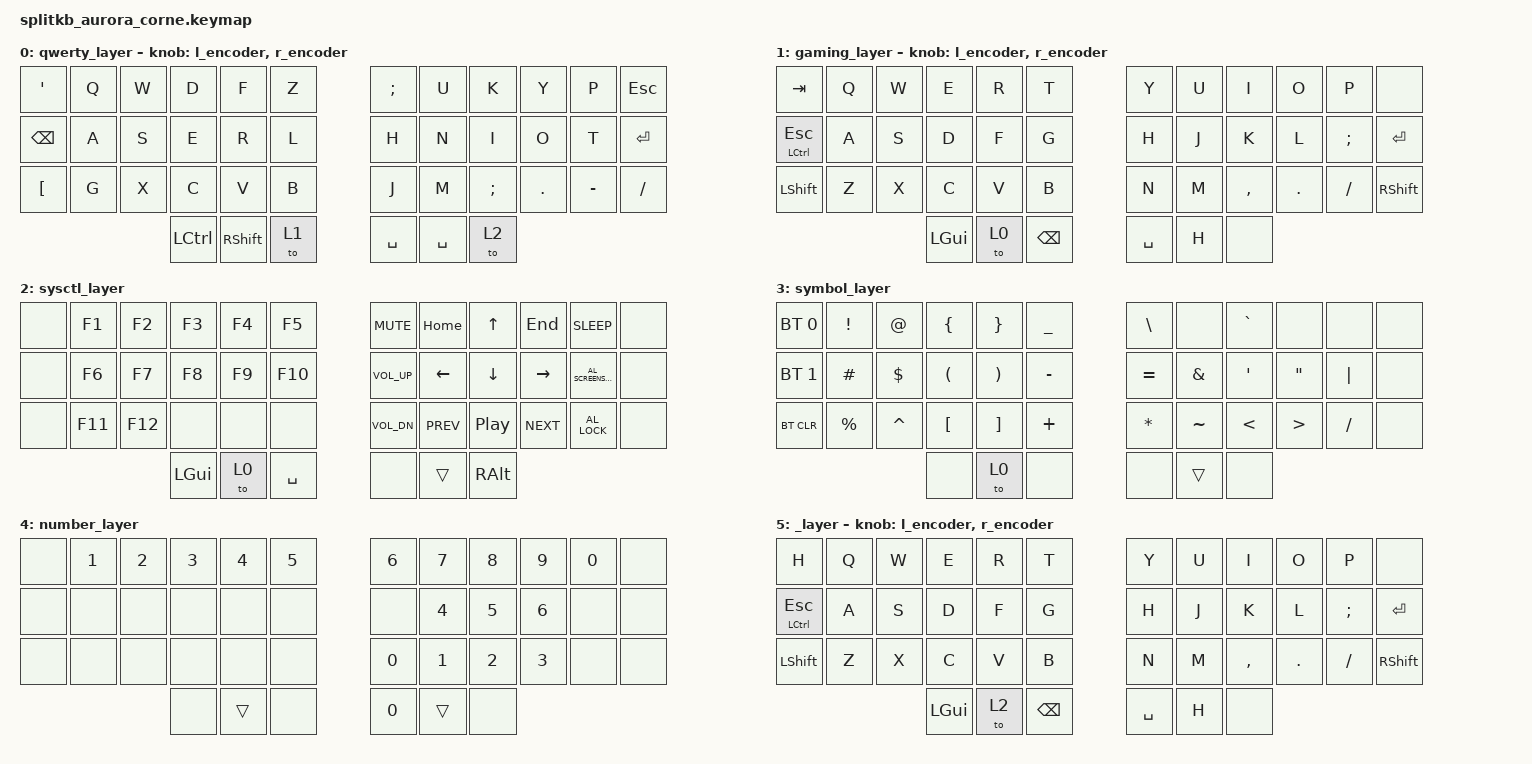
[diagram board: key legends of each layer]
#include <behaviors.dtsi>
#include <dt-bindings/zmk/keys.h>
#include <dt-bindings/zmk/bt.h>



/ {
         behaviors {
                 r_encoder: rigt_en {
                    compatible = "zmk,behavior-sensor-rotate";
                    label = "RIGHT_EN";
                    #sensor-binding-cells = <0>;
                    bindings = <&kp UP>, <&kp DOWN>;
                };
                 l_encoder: left_en {
                    compatible = "zmk,behavior-sensor-rotate";
                    label = "LEFT_EN";
                    #sensor-binding-cells = <0>;
                    bindings = <&kp RIGHT>, <&kp LEFT>;
                };
            };
        keymap {
                compatible = "zmk,keymap";

                qwerty_layer {
//  ┌─────────┬───┬───┬───┬───┬───┐      ┌───┬───┬───┬───┬───┬───────┐
//  │   TAB   │ Q │ W │ E │ R │ T │      │ Y │ U │ I │ O │ P │       │
//  ├─────────┼───┼───┼───┼───┼───┤      ├───┼───┼───┼───┼───┼───────┤
//  │ ESC/CTL │ A │ S │ D │ F │ G │      │ H │ J │ K │ L │ : │ ENTER │
//  ├─────────┼───┼───┼───┼───┼───┤      ├───┼───┼───┼───┼───┼───────┤
//  │  SHIFT  │ Z │ X │ C │ V │ B │      │ N │ M │ , │ . │ / │ SHIFT │
//  └─────────┴┬──┴──┬┴───┴─┬─┴───┴┐   ┌─┴───┼───┴──┬┴─┬─┴───┴───────┘
//             │ CMD │ SMBL │ BSPC │   │ SPC │ SYSC │  │
//             └─────┴──────┴──────┘   └─────┴──────┴──┘
                        bindings = <
   &kp SQT        &kp Q    &kp W    &kp D   &kp F      &kp Z       &kp SEMI    &kp U      &kp K      &kp Y    &kp P     &kp ESC
   &kp BSPC       &kp A    &kp S    &kp E   &kp R      &kp L       &kp H    &kp N      &kp I      &kp O    &kp T  &kp ENTER
   &kp LBKT       &kp G    &kp X    &kp C   &kp V      &kp B       &kp J    &kp M      &kp SEMI   &kp DOT  &kp MINUS  &kp SLASH
                             &kp LCTRL  &kp RSHFT &to 1   &kp SPC  &kp SPC &to 2
                        >;
                           sensor-bindings = <&l_encoder &r_encoder >;
                };
                                   gaming_layer {
//  ┌─────────┬───┬───┬───┬───┬───┐      ┌───┬───┬───┬───┬───┬───────┐
//  │   TAB   │ Q │ W │ E │ R │ T │      │ Y │ U │ I │ O │ P │       │
//  ├─────────┼───┼───┼───┼───┼───┤      ├───┼───┼───┼───┼───┼───────┤
//  │ ESC/CTL │ A │ S │ D │ F │ G │      │ H │ J │ K │ L │ : │ ENTER │
//  ├─────────┼───┼───┼───┼───┼───┤      ├───┼───┼───┼───┼───┼───────┤
//  │  SHIFT  │ Z │ X │ C │ V │ B │      │ N │ M │ , │ . │ / │ SHIFT │
//  └─────────┴┬──┴──┬┴───┴─┬─┴───┴┐   ┌─┴───┼───┴──┬┴─┬─┴───┴───────┘
//             │ CMD │ SMBL │ BSPC │   │ SPC │ SYSC │  │
//             └─────┴──────┴──────┘   └─────┴──────┴──┘
                        bindings = <
   &kp TAB  &kp Q &kp W &kp E   &kp R      &kp T       &kp Y    &kp U      &kp I      &kp O    &kp P     &none
   &mt LCTRL ESC   &kp A &kp S &kp D   &kp F      &kp G       &kp H    &kp J      &kp K      &kp L    &kp SEMI  &kp ENTER
   &kp LSHFT       &kp Z &kp X &kp C   &kp V      &kp B       &kp N    &kp M      &kp COMMA  &kp DOT  &kp FSLH  &kp RSHFT
                             &kp LGUI  &to 0 &kp BSPC    &kp SPC  &kp H &none
                        >;
                           sensor-bindings = <&l_encoder &r_encoder >;
                };
                sysctl_layer {
// |  TAB |  1  |  2  |  3  |  4  |  5  |   |  6  |  7  |  8  |  9  |  0  | BKSP |
// | BTCLR| BT1 | BT2 | BT3 | BT4 | BT5 |   | LFT | DWN |  UP | RGT |     |      |
// | SHFT |     |     |     |     |     |   |     |     |     |     |     |      |
//                    | GUI |     | SPC |   | ENT |     | ALT |
                        bindings = <
   &none  &kp F1   &kp F2   &kp F3    &kp F4  &kp F5       &kp C_MUTE    &kp HOME    &kp UP            &kp END     &kp C_SLEEP           &none
   &none  &kp F6   &kp F7   &kp F8    &kp F9  &kp F10      &kp C_VOL_UP  &kp LEFT    &kp DOWN          &kp RIGHT   &kp C_AL_SCREENSAVER  &none
   &none  &kp F11  &kp F12  &none     &none   &none        &kp C_VOL_DN  &kp C_PREV  &kp C_PLAY_PAUSE  &kp C_NEXT  &kp C_AL_LOCK         &none
                            &kp LGUI  &to 0  &kp SPACE    &none         &trans      &kp RALT
                        >;
                         };

                symbol_layer {
// |  TAB |  1  |  2  |  3  |  4  |  5  |   |  6  |  7  |  8  |  9  |  0  | BKSP |
// | BTCLR| BT1 | BT2 | BT3 | BT4 | BT5 |   | LFT | DWN |  UP | RGT |     |      |
// | SHFT |     |     |     |     |     |   |     |     |     |     |     |      |
//                    | GUI |     | SPC |   | ENT |     | ALT |
                                // !@{}_ \ `
                                // #$()- =&'"|
                                // %^[]+ *~<>/
                        bindings = <
   &bt BT_SEL 0  &kp EXCL   &kp AT     &kp LBRC  &kp RBRC  &kp UNDER    &kp BSLH   &none      &kp GRAVE  &none    &none     &none
   &bt BT_SEL 1  &kp HASH   &kp DLLR   &kp LPAR  &kp RPAR  &kp MINUS    &kp EQUAL  &kp AMPS   &kp SQT    &kp DQT  &kp PIPE  &none
   &bt BT_CLR    &kp PRCNT  &kp CARET  &kp LBKT  &kp RBKT  &kp PLUS     &kp ASTRK  &kp TILDE  &kp LT     &kp GT   &kp FSLH  &none
                          	       &none     &to 0    &none        &none      &trans     &none
                        >;
                };

                number_layer {
// |  TAB |  !  |  @  |  #  |  $  |  %  |   |  ^  |  &  |  *  |  (  |  )  | BKSP |
// | CTRL |     |     |     |     |     |   |  -  |  =  |  [  |  ]  |  \  |  `   |
// | SHFT |     |     |     |     |     |   |  _  |  +  |  {  |  }  | "|" |  ~   |
//                    | GUI |     | SPC |   | ENT |     | ALT |
                        bindings = <
   &none  &kp N1  &kp N2  &kp N3  &kp N4  &kp N5    &kp N6  &kp N7  &kp N8  &kp N9  &kp N0  &none
   &none  &none   &none   &none   &none   &none     &none   &kp N4  &kp N5  &kp N6  &none   &none
   &none  &none   &none   &none   &none   &none     &kp N0  &kp N1  &kp N2  &kp N3  &none   &none
                    	  &none   &trans  &none     &kp N0  &trans  &none
                        >;
                };

                 _layer {
//  ┌─────────┬───┬───┬───┬───┬───┐      ┌───┬───┬───┬───┬───┬───────┐
//  │   TAB   │ Q │ W │ E │ R │ T │      │ Y │ U │ I │ O │ P │       │
//  ├─────────┼───┼───┼───┼───┼───┤      ├───┼───┼───┼───┼───┼───────┤
//  │ ESC/CTL │ A │ S │ D │ F │ G │      │ H │ J │ K │ L │ : │ ENTER │
//  ├─────────┼───┼───┼───┼───┼───┤      ├───┼───┼───┼───┼───┼───────┤
//  │  SHIFT  │ Z │ X │ C │ V │ B │      │ N │ M │ , │ . │ / │ SHIFT │
//  └─────────┴┬──┴──┬┴───┴─┬─┴───┴┐   ┌─┴───┼───┴──┬┴─┬─┴───┴───────┘
//             │ CMD │ SMBL │ BSPC │   │ SPC │ SYSC │  │
//             └─────┴──────┴──────┘   └─────┴──────┴──┘
                        bindings = <
   &kp H  &kp Q &kp W &kp E   &kp R      &kp T       &kp Y    &kp U      &kp I      &kp O    &kp P     &none
   &mt LCTRL ESC   &kp A &kp S &kp D   &kp F      &kp G       &kp H    &kp J      &kp K      &kp L    &kp SEMI  &kp ENTER
   &kp LSHFT       &kp Z &kp X &kp C   &kp V      &kp B       &kp N    &kp M      &kp COMMA  &kp DOT  &kp FSLH  &kp RSHFT
                             &kp LGUI  &to 2 &kp BSPC    &kp SPC  &kp H &none
                        >;
                           sensor-bindings = <&l_encoder &r_encoder >;
                };

        };
};


// game mode

// reset
// qmk flash --keyboard crkbd/rev1 --keymap pvinis
// crkbd/rev1/pvinis @ 0.13.17-94-g521b7d-dirty
// home row mods

// template
//  ┌──┬──┬──┬──┬──┬──┐      ┌──┬──┬──┬──┬──┬──┐
//  │  │  │  │  │  │  │      │  │  │  │  │  │  │
//  ├──┼──┼──┼──┼──┼──┤      ├──┼──┼──┼──┼──┼──┤
//  │  │  │  │  │  │  │      │  │  │  │  │  │  │
//  ├──┼──┼──┼──┼──┼──┤      ├──┼──┼──┼──┼──┼──┤
//  │  │  │  │  │  │  │      │  │  │  │  │  │  │
//  └──┴──┴──┴─┬┴─┬┴─┬┴─┐   ┌┴─┬┴─┬┴─┬┴──┴──┴──┘
//             │  │  │  │   │  │  │  │
//             └──┴──┴──┘   └──┴──┴──┘
